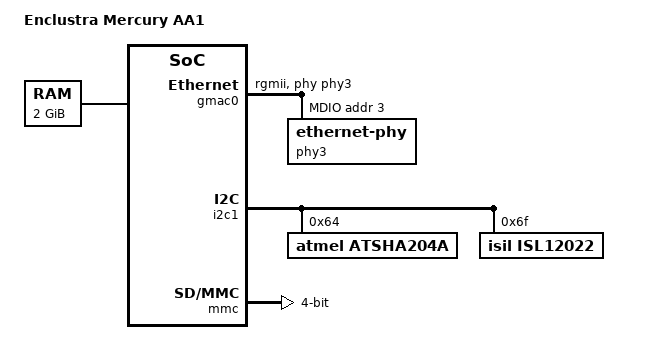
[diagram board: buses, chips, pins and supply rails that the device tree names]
// SPDX-License-Identifier: GPL-2.0
/*
 * Copyright 2022 Google LLC
 */

#include "socfpga_arria10.dtsi"

/ {

	model = "Enclustra Mercury AA1";
	compatible = "enclustra,mercury-aa1", "altr,socfpga-arria10", "altr,socfpga";

	aliases {
		ethernet0 = &gmac0;
		serial1 = &uart1;
	};

	memory@0 {
		name = "memory";
		device_type = "memory";
		reg = <0x0 0x80000000>; /* 2GB */
	};

	chosen {
		stdout-path = "serial1:115200n8";
	};
};

&gmac0 {
	phy-mode = "rgmii";
	phy-addr = <0xffffffff>; /* probe for phy addr */

	max-frame-size = <3800>;

	phy-handle = <&phy3>;

	mdio {
		#address-cells = <1>;
		#size-cells = <0>;
		compatible = "snps,dwmac-mdio";
		phy3: ethernet-phy@3 {
			txd0-skew-ps = <0>; /* -420ps */
			txd1-skew-ps = <0>; /* -420ps */
			txd2-skew-ps = <0>; /* -420ps */
			txd3-skew-ps = <0>; /* -420ps */
			rxd0-skew-ps = <420>; /* 0ps */
			rxd1-skew-ps = <420>; /* 0ps */
			rxd2-skew-ps = <420>; /* 0ps */
			rxd3-skew-ps = <420>; /* 0ps */
			txen-skew-ps = <0>; /* -420ps */
			txc-skew-ps = <1860>; /* 960ps */
			rxdv-skew-ps = <420>; /* 0ps */
			rxc-skew-ps = <1680>; /* 780ps */
			reg = <3>;
		};
	};
};

&i2c1 {
	atsha204a: crypto@64 {
		compatible = "atmel,atsha204a";
		reg = <0x64>;
	};

	isl12022: isl12022@6f {
		compatible = "isil,isl12022";
		reg = <0x6f>;
	};
};

/* Following mappings are taken from arria10 socdk dts */
&mmc {
	cap-sd-highspeed;
	broken-cd;
	bus-width = <4>;
	clk-phase-sd-hs = <0>, <135>;
};

&osc1 {
	clock-frequency = <33330000>;
};
